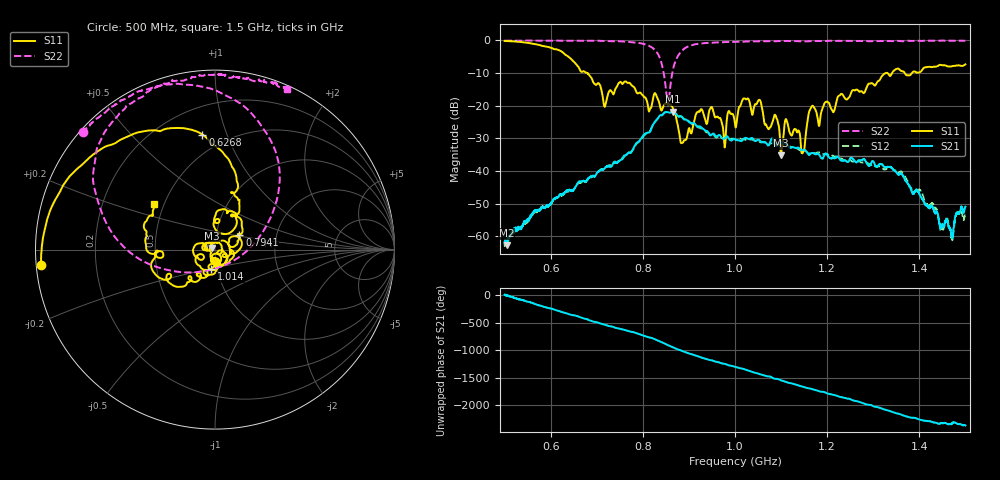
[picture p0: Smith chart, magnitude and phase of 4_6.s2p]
!Agilent Technologies,E8364B,US42250235,A.06.04.32
!Agilent E8364B: A.06.04.32
!Date: Thursday, October 01, 2020 14:57:04
!Correction: S11(Full 2 Port(1,2)) S21(Full 2 Port(1,2)) S12(Full 2 Port(1,2)) S22(Full 2 Port(1,2))
!S2P File: Measurements: S11, S21, S12, S22:
# Hz S  dB  R 50
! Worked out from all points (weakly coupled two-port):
!   2650 points, 500 MHz to 1.5 GHz, reference 50 ohm
!   highest |S21| = -21.90 dB at 865.4 MHz (marker M1); lowest = -62.7 dB at 504.9 MHz (marker M2)
!   lowest |S11| = -35.2 dB at 1.1 GHz (marker M3), VSWR 1.04, Z = 48.5 + j0.849 ohm
!   |S11| at or under -10 dB: 678.9 MHz to 1.328 GHz (649.4 MHz wide, 64.7 % of centre); 1.33 GHz to 1.341 GHz (10.9 MHz wide, 0.816 % of centre); 1.368 GHz to 1.384 GHz (16.21 MHz wide, 1.18 % of centre)
!   |S22| runs from -20.0 to -0.1 dB; largest |S21 - S12| = 0.0068
!   S11 on the Smith chart (normalised r, x): 500 MHz: 0.01, -0.04; 626.8 MHz: 0.38, +0.82; 794.1 MHz: 1.30, +0.21; 1.014 GHz: 0.94, -0.21; 1.5 GHz: 0.44, +0.27
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5e8  -0.24 -175.1  -62.03 6.9  -61.44 0.5  -0.13 138.5
5.049075e8  -0.27 -177.7  -62.68 -7.2  -61.80 -10.6  -0.13 138.2
6.268403e8  -3.82 96.3  -47.12 47.8  -47.38 47.8  -0.17 124.8
6.668554e8  -9.67 73.2  -43.24 -49.7  -43.61 -50.6  -0.19 120.3
7.174405e8  -20.36 73.3  -39.14 -176.1  -39.05 -168.3  -0.27 113.1
7.940732e8  -16.03 30.3  -30.52 9.1  -30.75 12.7  -0.92 92.0
8.337108e8  -18.37 -7.1  -23.63 -106.2  -23.76 -103.5  -4.47 53.6
8.537184e8  -19.47 -28.7  -22.01 175.5  -22.01 179.2  -19.66 -51.7
8.654209e8  -20.83 -69.2  -21.90 133.2  -22.02 136.1  -9.01 -165.3
8.85806e8  -31.39 -150.3  -23.57 63.6  -23.70 66.1  -3.10 158.2
9.239336e8  -21.68 2.2  -26.41 -42.0  -26.89 -38.9  -1.06 135.4
9.764062e8  -31.13 -108.9  -30.19 -165.4  -30.21 -163.7  -0.60 122.5
1.000189e9  -25.80 -109.1  -30.24 138.0  -30.40 141.9  -0.52 118.3
1.014156e9  -19.04 -100.9  -30.86 109.0  -30.30 108.1  -0.51 115.4
1.088524e9  -23.10 156.9  -32.23 -79.2  -32.26 -73.0  -0.32 105.3
1.099849e9  -35.17 149.9  -31.02 -106.1  -31.97 -98.4  -0.28 105.0
1.111929e9  -24.51 141.4  -31.71 -138.5  -32.16 -126.1  -0.25 104.2
1.147792e9  -34.14 -31.0  -33.68 138.4  -33.50 146.6  -0.37 100.5
1.166667e9  -20.26 -61.6  -34.50 97.6  -34.56 104.9  -0.28 97.7
1.333522e9  -10.44 -152.4  -38.74 65.6  -39.11 76.9  -0.27 81.8
1.468667e9  -8.05 150.6  -58.81 -178.6  -58.91 -177.9  -0.15 69.5
1.5e9  -7.41 143.1  -50.92 158.3  -52.58 174.8  -0.18 65.8
